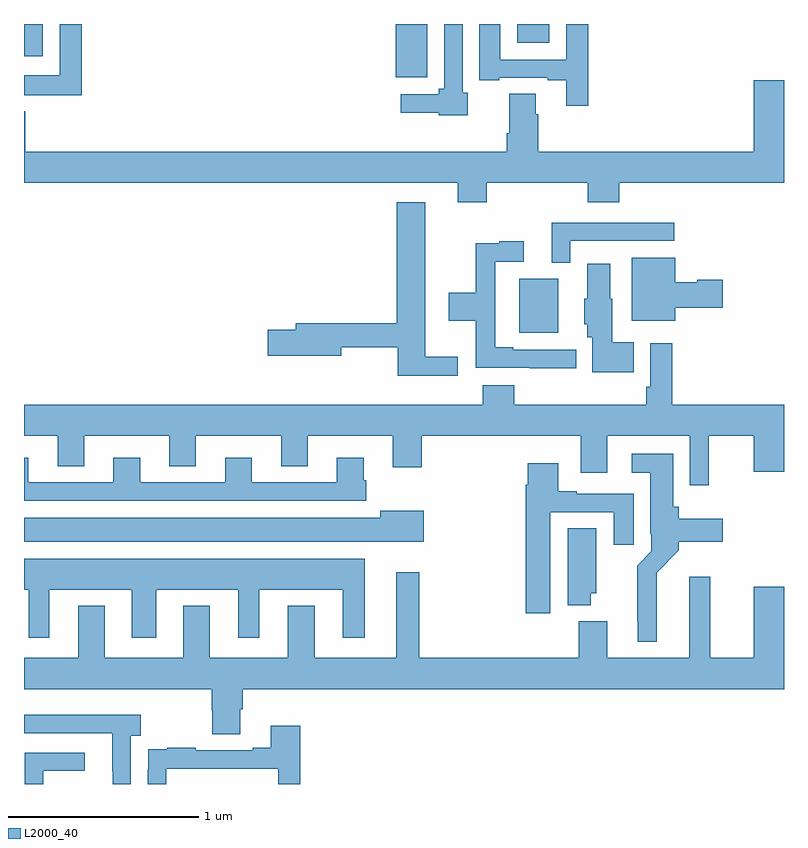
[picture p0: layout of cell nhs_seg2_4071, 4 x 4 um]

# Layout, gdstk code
import gdstk
lib = gdstk.Library(unit=1e-6, precision=1e-09)
def R(c, l, rs):  # rectangles x0, y0, x1, y1
    for r in rs: c.add(gdstk.rectangle(r[:2], r[2:], *l))
def P(c, l, *ps):  # polygons
    for p in ps: c.add(gdstk.Polygon(p, *l))
L2000_40 = (2000, 40)

nhs_seg2_4071 = lib.new_cell('nhs_seg2_4071')
R(nhs_seg2_4071, L2000_40, [(331.607,652.175,331.813,652.459), (330.956,653.519,331.123,653.8), (329,653.63,329.098,653.8), (331.595,653.702,331.765,653.8)])
P(nhs_seg2_4071, L2000_40, [(331.97,653.8),(331.854,653.8),(331.854,653.613),(331.507,653.613),(331.507,653.8),(331.397,653.8),(331.397,653.505),(331.501,653.505),(331.501,653.517),(331.757,653.517),(331.757,653.505),(331.853,653.505),(331.853,653.37),(331.97,653.37)],
  [(331.336,653.439),(331.308,653.439),(331.308,653.8),(331.212,653.8),(331.212,653.458),(331.182,653.458),(331.182,653.43),(330.984,653.43),(330.984,653.333),(331.182,653.333),(331.182,653.321),(331.336,653.321)],
  [(329.303,653.8),(329.187,653.8),(329.187,653.53),(329,653.53),(329,653.426),(329.18,653.426),(329.18,653.424),(329.303,653.424)],
  [(331.436,652.964),(331.967,652.964),(331.967,652.862),(332.132,652.862),(332.132,652.964),(333,652.964),(333,653.503),(332.84,653.503),(332.84,653.128),(331.706,653.128),(331.706,653.324),(331.693,653.324),(331.693,653.432),(331.553,653.432),(331.553,653.224),(331.541,653.224),(331.541,653.128),(329.006,653.128),(329.006,653.341),(329,653.341),(329,652.964),(331.283,652.964),(331.283,652.862),(331.436,652.862)],
  [(331.282,652.049),(331.111,652.049),(331.111,652.861),(330.962,652.861),(330.962,652.226),(330.431,652.226),(330.431,652.19),(330.282,652.19),(330.282,652.055),(330.67,652.055),(330.67,652.098),(330.967,652.098),(330.967,651.95),(331.282,651.95)],
  [(331.875,652.659),(332.422,652.659),(332.422,652.755),(331.778,652.755),(331.778,652.544),(331.875,652.544)],
  [(331.906,652.086),(331.576,652.086),(331.576,652.099),(331.479,652.099),(331.479,652.548),(331.63,652.548),(331.63,652.657),(331.502,652.657),(331.502,652.646),(331.378,652.646),(331.378,652.386),(331.236,652.386),(331.236,652.238),(331.378,652.238),(331.378,651.99),(331.663,651.99),(331.663,651.989),(331.906,651.989)],
  [(332.428,652.307),(332.677,652.307),(332.677,652.454),(332.544,652.454),(332.544,652.441),(332.428,652.441),(332.428,652.57),(332.198,652.57),(332.198,652.238),(332.428,652.238)],
  [(332.21,652.126),(332.095,652.126),(332.095,652.353),(332.086,652.353),(332.086,652.537),(331.964,652.537),(331.964,652.353),(331.949,652.353),(331.949,652.221),(331.964,652.221),(331.964,652.152),(331.991,652.152),(331.991,651.968),(332.21,651.968)],
  [(332.604,651.632),(332.84,651.632),(332.84,651.444),(333,651.444),(333,651.796),(332.411,651.796),(332.411,652.12),(332.295,652.12),(332.295,651.892),(332.275,651.892),(332.275,651.796),(331.58,651.796),(331.58,651.898),(331.415,651.898),(331.415,651.796),(329,651.796),(329,651.632),(329.177,651.632),(329.177,651.472),(329.317,651.472),(329.317,651.632),(329.765,651.632),(329.765,651.472),(329.905,651.472),(329.905,651.632),(330.353,651.632),(330.353,651.472),(330.493,651.472),(330.493,651.632),(330.941,651.632),(330.941,651.468),(331.094,651.468),(331.094,651.632),(331.931,651.632),(331.931,651.438),(332.071,651.438),(332.071,651.632),(332.505,651.632),(332.505,651.372),(332.604,651.372)],
  [(332.329,650.912),(332.447,651.03),(332.447,651.074),(332.677,651.074),(332.677,651.196),(332.447,651.196),(332.447,651.258),(332.416,651.258),(332.416,651.538),(332.199,651.538),(332.199,651.437),(332.297,651.437),(332.297,651.118),(332.301,651.118),(332.301,651.024),(332.227,650.95),(332.227,650.659),(332.231,650.659),(332.231,650.549),(332.329,650.549)],
  [(330.8,651.399),(330.787,651.399),(330.787,651.517),(330.647,651.517),(330.647,651.387),(330.199,651.387),(330.199,651.517),(330.059,651.517),(330.059,651.387),(329.611,651.387),(329.611,651.517),(329.471,651.517),(329.471,651.387),(329.023,651.387),(329.023,651.517),(329,651.517),(329,651.291),(330.8,651.291)],
  [(331.771,651.231),(332.105,651.231),(332.105,651.06),(332.209,651.06),(332.209,651.327),(331.909,651.327),(331.909,651.34),(331.813,651.34),(331.813,651.487),(331.652,651.487),(331.652,651.374),(331.64,651.374),(331.64,650.7),(331.771,650.7)],
  [(331.105,651.238),(330.875,651.238),(330.875,651.202),(329,651.202),(329,651.074),(331.105,651.074)],
  [(331.984,650.805),(332.011,650.805),(332.011,651.146),(331.862,651.146),(331.862,650.741),(331.984,650.741)],
  [(329.134,650.822),(329.567,650.822),(329.567,650.571),(329.695,650.571),(329.695,650.822),(330.128,650.822),(330.128,650.571),(330.238,650.571),(330.238,650.822),(330.677,650.822),(330.677,650.571),(330.793,650.571),(330.793,650.986),(329,650.986),(329,650.822),(329.024,650.822),(329.024,650.571),(329.134,650.571)],
  [(330.139,650.194),(330.152,650.194),(330.152,650.3),(333,650.3),(333,650.839),(332.84,650.839),(332.84,650.464),(332.611,650.464),(332.611,650.89),(332.501,650.89),(332.501,650.464),(332.071,650.464),(332.071,650.656),(331.919,650.656),(331.919,650.464),(331.081,650.464),(331.081,650.914),(330.959,650.914),(330.959,650.464),(330.529,650.464),(330.529,650.737),(330.389,650.737),(330.389,650.464),(329.977,650.464),(329.977,650.737),(329.837,650.737),(329.837,650.464),(329.425,650.464),(329.425,650.737),(329.285,650.737),(329.285,650.464),(329,650.464),(329,650.3),(329.987,650.3),(329.987,650.187),(329.992,650.187),(329.992,650.062),(330.139,650.062)],
  [(329.562,650.054),(329.614,650.054),(329.614,650.164),(329,650.164),(329,650.067),(329.465,650.067),(329.465,649.867),(329.466,649.867),(329.466,649.8),(329.562,649.8)],
  [(329.748,649.881),(330.339,649.881),(330.339,649.8),(330.455,649.8),(330.455,650.107),(330.299,650.107),(330.299,649.99),(330.203,649.99),(330.203,649.977),(329.903,649.977),(329.903,649.99),(329.755,649.99),(329.755,649.983),(329.653,649.983),(329.653,649.874),(329.652,649.874),(329.652,649.8),(329.748,649.8)],
  [(329.1,649.869),(329.32,649.869),(329.32,649.965),(329.004,649.965),(329.004,649.8),(329.1,649.8)])

lib.write_gds('nhs_seg2_4071.gds')
